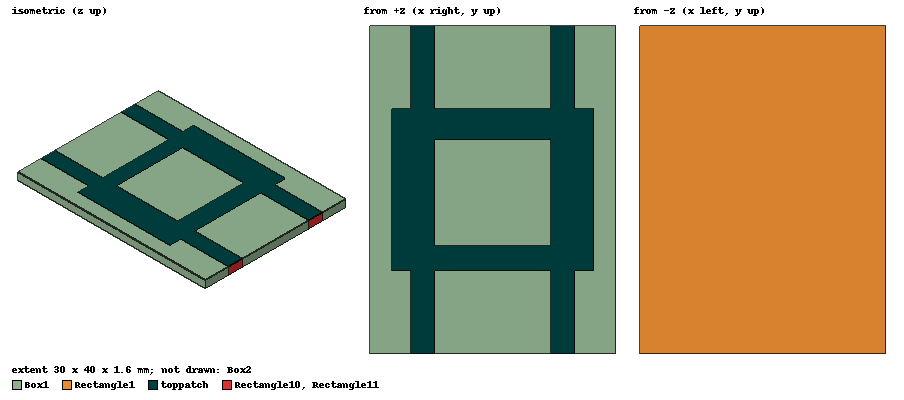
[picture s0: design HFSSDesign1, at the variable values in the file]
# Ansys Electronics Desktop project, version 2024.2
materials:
  vacuum: permittivity=1
  FR4_epoxy: permittivity=4.4 dielectric_loss_tangent=0.02
  air: permittivity=1.0006 permeability=1.0000004

design HFSSDesign1 (HFSS, HFSS Terminal Network, model units mm)
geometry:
  Rectangle1 = rectangle(corner=(-15mm, -20mm, 0mm), x_size=30mm, y_size=40mm)
  Box1 [FR4_epoxy] = box(corner=(-15mm, -20mm, 0mm), size=(30mm, 40mm, 1.6mm))
  Rectangle2 = rectangle(corner=((-24.7/2) mm, (-19.7/2) mm, 1.6mm), x_size=24.7mm, y_size=19.7mm)
  Rectangle3 = rectangle(corner=((-14.1/2) mm, (-13.7/2) mm, 1.6mm), x_size=14.1mm, y_size=13mm)
  Rectangle2.subtract(Rectangle3)
  toppatch = rectangle(corner=((-14.1/2) mm, -20mm, 1.6mm), x_size=-3mm, y_size=10.15mm)
  Rectangle5 = rectangle(corner=((14.1/2) mm, -20mm, 1.6mm), x_size=3mm, y_size=10.15mm)
  Rectangle6 = rectangle(corner=((-14.1/2) mm, 20mm, 1.6mm), x_size=-3mm, y_size=-10.15mm)
  Rectangle7 = rectangle(corner=((14.1/2) mm, 20mm, 1.6mm), x_size=3mm, y_size=-10.15mm)
  Rectangle8 = rectangle(corner=(-10.05mm, -20mm, 1.6mm), z_size=-1.6mm, x_size=3mm)
  Rectangle9 = rectangle(corner=(7.05mm, -20mm, 1.6mm), z_size=-1.6mm, x_size=3mm)
  Rectangle10 = rectangle(corner=(10.05mm, 20mm, 1.6mm), z_size=-1.6mm, x_size=-3mm)
  Rectangle11 = rectangle(corner=(-7.05mm, 20mm, 1.6mm), z_size=-1.6mm, x_size=-3mm)
  toppatch.unite(Rectangle5, Rectangle2, Rectangle7, Rectangle6)
  Box2 [air] = box(corner=(-25mm, -25mm, -25mm), size=(50mm, 50mm, 50mm))
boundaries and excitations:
  PerfE1: Perfect E Objects=Rectangle1
  PerfE2: Perfect E Objects=toppatch
  Rad1: Radiation Objects=Box2
  1: Lumped Port Objects=Rectangle10 LumpedPortType=Modal Modes{Mode1{IntLine{(8.55, 20, 0) -> (8.55, 20, 1.6)} CharImp=Zpi RenormImp=50ohm}} Impedance=50ohm
  2: Lumped Port Objects=Rectangle11 LumpedPortType=Modal Modes{Mode1{IntLine{(-8.55, 20, 0) -> (-8.55, 20, 1.6)} CharImp=Zpi RenormImp=50ohm}} Impedance=50ohm
  3: Lumped Port Objects=Rectangle8 LumpedPortType=Modal Modes{Mode1{IntLine{(-8.55, -20, 0) -> (-8.55, -20, 1.6)} CharImp=Zpi RenormImp=50ohm}} Impedance=50ohm
  4: Lumped Port Objects=Rectangle9 LumpedPortType=Modal Modes{Mode1{IntLine{(8.55, -20, 0) -> (8.55, -20, 1.6)} CharImp=Zpi RenormImp=50ohm}} Impedance=50ohm
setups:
  Setup1: HfssDriven Frequency=2.4GHz MaxDeltaS=0.02 MaximumPasses=6 MinimumPasses=1 MinimumConvergedPasses=1 PercentRefinement=30 BasisOrder=1 PortAccuracy=2 DrivenSolverType="Direct Solver"
    sweep Sweep: 1GHz to 5GHz, 401 points; Type=Interpolating InterpTolerance=0.5 InterpMaxSolns=250 PassivityErrorTolerance=0.0001
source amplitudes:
  1:1: 1V 0deg
  2:1, 3:1, 4:1: 0V 0deg
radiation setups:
  Infinite Sphere1: Infinite Sphere Theta=0deg..180deg step 10deg Phi=0deg..360deg step 10deg
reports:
  S Parameter Plot 1: dB(S(1,1)), dB(S(2,1)), dB(S(3,1)), dB(S(4,1)), dB(S(1,2)), dB(S(2,2)), dB(S(3,2)), dB(S(4,2)), dB(S(1,3)), dB(S(2,3)), dB(S(3,3)), dB(S(4,3)), dB(S(1,4)), dB(S(2,4)), dB(S(3,4)), dB(S(4,4)) vs Freq on Setup1 : Sweep; markers m1 at 2.48GHz
  rE Plot 1: rETotal vs Phi, Theta on Setup1 : LastAdaptive, Infinite Sphere1 [Freq=2.4GHz]
